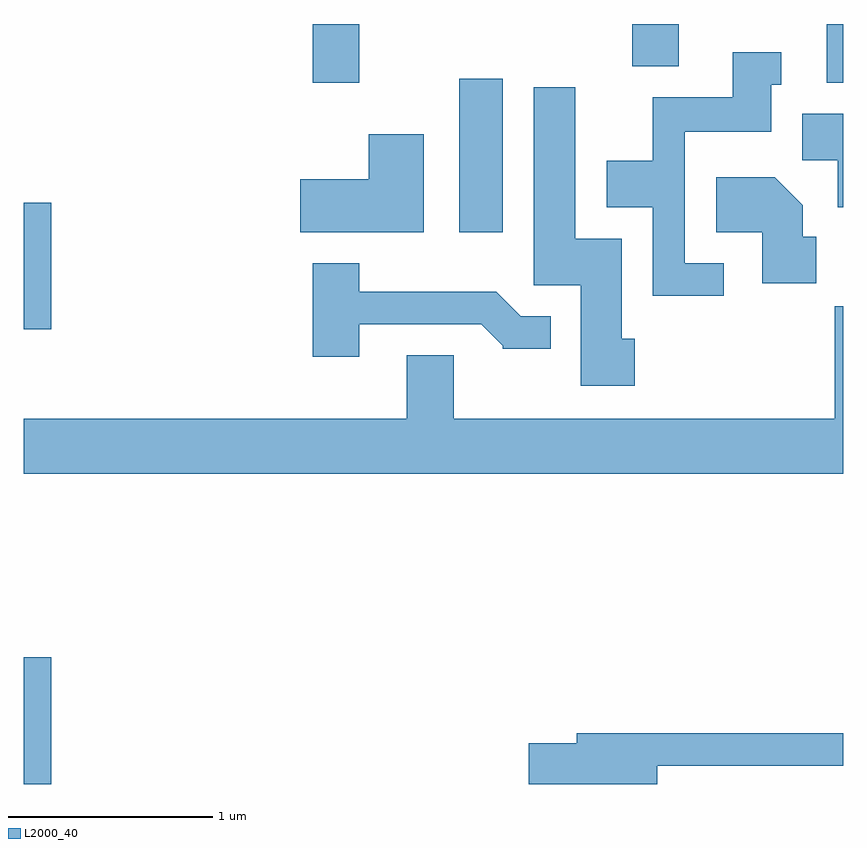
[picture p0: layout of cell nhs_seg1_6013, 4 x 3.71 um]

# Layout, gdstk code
import gdstk
lib = gdstk.Library(unit=1e-6, precision=1e-09)
def R(c, l, rs):  # rectangles x0, y0, x1, y1
    for r in rs: c.add(gdstk.rectangle(r[:2], r[2:], *l))
def P(c, l, *ps):  # polygons
    for p in ps: c.add(gdstk.Polygon(p, *l))
L2000_40 = (2000, 40)

nhs_seg1_6013 = lib.new_cell('nhs_seg1_6013')
R(nhs_seg1_6013, L2000_40, [(365.611,958.001,365.744,958.619), (365.611,960.221,365.744,960.839), (367.736,960.696,367.949,961.444), (367.021,961.426,367.249,961.712), (369.531,961.426,369.611,961.712), (368.581,961.506,368.809,961.712)])
P(nhs_seg1_6013, L2000_40, [(369.028,960.544),(368.839,960.544),(368.839,961.186),(369.259,961.186),(369.259,961.416),(369.308,961.416),(369.308,961.574),(369.071,961.574),(369.071,961.354),(368.681,961.354),(368.681,961.044),(368.456,961.044),(368.456,960.816),(368.681,960.816),(368.681,960.386),(369.028,960.386)],
  [(368.594,960.174),(368.529,960.174),(368.529,960.664),(368.304,960.664),(368.304,961.404),(368.101,961.404),(368.101,960.436),(368.331,960.436),(368.331,959.946),(368.594,959.946)],
  [(369.611,961.274),(369.411,961.274),(369.411,961.046),(369.586,961.046),(369.586,960.816),(369.611,960.816)],
  [(367.564,961.174),(367.296,961.174),(367.296,960.954),(366.961,960.954),(366.961,960.696),(367.564,960.696)],
  [(369.479,960.674),(369.414,960.674),(369.414,960.827),(369.277,960.964),(368.991,960.964),(368.991,960.696),(369.216,960.696),(369.216,960.446),(369.479,960.446)],
  [(367.249,960.246),(367.844,960.246),(367.95,960.14),(367.95,960.126),(368.183,960.126),(368.183,960.284),(368.037,960.284),(367.917,960.404),(367.249,960.404),(367.249,960.544),(367.021,960.544),(367.021,960.086),(367.249,960.086)],
  [(369.611,960.333),(369.571,960.333),(369.571,959.784),(367.709,959.784),(367.709,960.094),(367.481,960.094),(367.481,959.784),(365.611,959.784),(365.611,959.516),(369.611,959.516)],
  [(368.704,958.091),(369.611,958.091),(369.611,958.249),(368.311,958.249),(368.311,958.199),(368.076,958.199),(368.076,958.001),(368.704,958.001)])

lib.write_gds('nhs_seg1_6013.gds')
